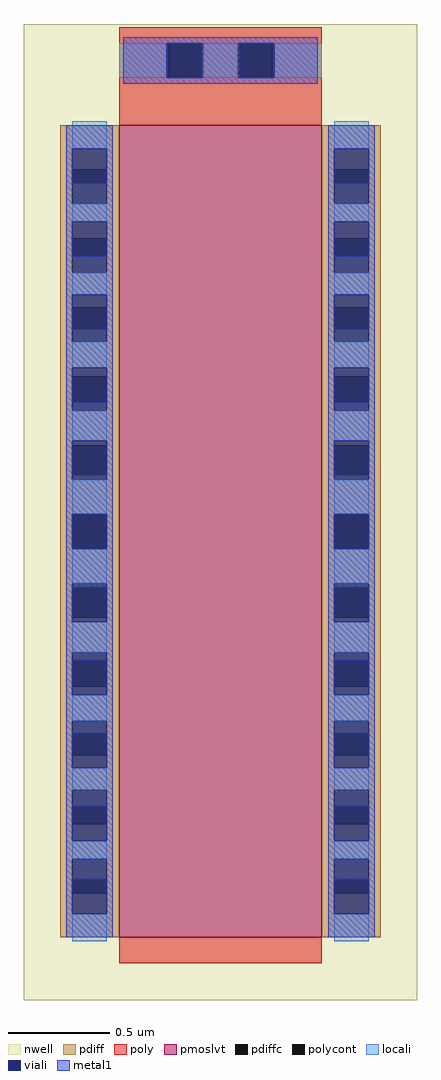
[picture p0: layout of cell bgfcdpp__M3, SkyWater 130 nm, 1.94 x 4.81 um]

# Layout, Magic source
magic
tech sky130A
magscale 1 2
<< nwell >>
rect -194 -498 194 464
<< pmoslvt >>
rect -100 -436 100 364
<< pdiff >>
rect -158 321 -100 364
rect -158 287 -146 321
rect -112 287 -100 321
rect -158 253 -100 287
rect -158 219 -146 253
rect -112 219 -100 253
rect -158 185 -100 219
rect -158 151 -146 185
rect -112 151 -100 185
rect -158 117 -100 151
rect -158 83 -146 117
rect -112 83 -100 117
rect -158 49 -100 83
rect -158 15 -146 49
rect -112 15 -100 49
rect -158 -19 -100 15
rect -158 -53 -146 -19
rect -112 -53 -100 -19
rect -158 -87 -100 -53
rect -158 -121 -146 -87
rect -112 -121 -100 -87
rect -158 -155 -100 -121
rect -158 -189 -146 -155
rect -112 -189 -100 -155
rect -158 -223 -100 -189
rect -158 -257 -146 -223
rect -112 -257 -100 -223
rect -158 -291 -100 -257
rect -158 -325 -146 -291
rect -112 -325 -100 -291
rect -158 -359 -100 -325
rect -158 -393 -146 -359
rect -112 -393 -100 -359
rect -158 -436 -100 -393
rect 100 321 158 364
rect 100 287 112 321
rect 146 287 158 321
rect 100 253 158 287
rect 100 219 112 253
rect 146 219 158 253
rect 100 185 158 219
rect 100 151 112 185
rect 146 151 158 185
rect 100 117 158 151
rect 100 83 112 117
rect 146 83 158 117
rect 100 49 158 83
rect 100 15 112 49
rect 146 15 158 49
rect 100 -19 158 15
rect 100 -53 112 -19
rect 146 -53 158 -19
rect 100 -87 158 -53
rect 100 -121 112 -87
rect 146 -121 158 -87
rect 100 -155 158 -121
rect 100 -189 112 -155
rect 146 -189 158 -155
rect 100 -223 158 -189
rect 100 -257 112 -223
rect 146 -257 158 -223
rect 100 -291 158 -257
rect 100 -325 112 -291
rect 146 -325 158 -291
rect 100 -359 158 -325
rect 100 -393 112 -359
rect 146 -393 158 -359
rect 100 -436 158 -393
<< pdiffc >>
rect -146 287 -112 321
rect -146 219 -112 253
rect -146 151 -112 185
rect -146 83 -112 117
rect -146 15 -112 49
rect -146 -53 -112 -19
rect -146 -121 -112 -87
rect -146 -189 -112 -155
rect -146 -257 -112 -223
rect -146 -325 -112 -291
rect -146 -393 -112 -359
rect 112 287 146 321
rect 112 219 146 253
rect 112 151 146 185
rect 112 83 146 117
rect 112 15 146 49
rect 112 -53 146 -19
rect 112 -121 146 -87
rect 112 -189 146 -155
rect 112 -257 146 -223
rect 112 -325 146 -291
rect 112 -393 146 -359
<< poly >>
rect -100 445 100 461
rect -100 411 -51 445
rect -17 411 17 445
rect 51 411 100 445
rect -100 364 100 411
rect -100 -462 100 -436
<< polycont >>
rect -51 411 -17 445
rect 17 411 51 445
<< locali >>
rect -100 411 -53 445
rect -17 411 17 445
rect 53 411 100 445
rect -146 341 -112 368
rect -146 269 -112 287
rect -146 197 -112 219
rect -146 125 -112 151
rect -146 53 -112 83
rect -146 -19 -112 15
rect -146 -87 -112 -53
rect -146 -155 -112 -125
rect -146 -223 -112 -197
rect -146 -291 -112 -269
rect -146 -359 -112 -341
rect -146 -440 -112 -413
rect 112 341 146 368
rect 112 269 146 287
rect 112 197 146 219
rect 112 125 146 151
rect 112 53 146 83
rect 112 -19 146 15
rect 112 -87 146 -53
rect 112 -155 146 -125
rect 112 -223 146 -197
rect 112 -291 146 -269
rect 112 -359 146 -341
rect 112 -440 146 -413
<< viali >>
rect -53 411 -51 445
rect -51 411 -19 445
rect 19 411 51 445
rect 51 411 53 445
rect -146 321 -112 341
rect -146 307 -112 321
rect -146 253 -112 269
rect -146 235 -112 253
rect -146 185 -112 197
rect -146 163 -112 185
rect -146 117 -112 125
rect -146 91 -112 117
rect -146 49 -112 53
rect -146 19 -112 49
rect -146 -53 -112 -19
rect -146 -121 -112 -91
rect -146 -125 -112 -121
rect -146 -189 -112 -163
rect -146 -197 -112 -189
rect -146 -257 -112 -235
rect -146 -269 -112 -257
rect -146 -325 -112 -307
rect -146 -341 -112 -325
rect -146 -393 -112 -379
rect -146 -413 -112 -393
rect 112 321 146 341
rect 112 307 146 321
rect 112 253 146 269
rect 112 235 146 253
rect 112 185 146 197
rect 112 163 146 185
rect 112 117 146 125
rect 112 91 146 117
rect 112 49 146 53
rect 112 19 146 49
rect 112 -53 146 -19
rect 112 -121 146 -91
rect 112 -125 146 -121
rect 112 -189 146 -163
rect 112 -197 146 -189
rect 112 -257 146 -235
rect 112 -269 146 -257
rect 112 -325 146 -307
rect 112 -341 146 -325
rect 112 -393 146 -379
rect 112 -413 146 -393
<< metal1 >>
rect -96 445 96 451
rect -96 411 -53 445
rect -19 411 19 445
rect 53 411 96 445
rect -96 405 96 411
rect -152 341 -106 364
rect -152 307 -146 341
rect -112 307 -106 341
rect -152 269 -106 307
rect -152 235 -146 269
rect -112 235 -106 269
rect -152 197 -106 235
rect -152 163 -146 197
rect -112 163 -106 197
rect -152 125 -106 163
rect -152 91 -146 125
rect -112 91 -106 125
rect -152 53 -106 91
rect -152 19 -146 53
rect -112 19 -106 53
rect -152 -19 -106 19
rect -152 -53 -146 -19
rect -112 -53 -106 -19
rect -152 -91 -106 -53
rect -152 -125 -146 -91
rect -112 -125 -106 -91
rect -152 -163 -106 -125
rect -152 -197 -146 -163
rect -112 -197 -106 -163
rect -152 -235 -106 -197
rect -152 -269 -146 -235
rect -112 -269 -106 -235
rect -152 -307 -106 -269
rect -152 -341 -146 -307
rect -112 -341 -106 -307
rect -152 -379 -106 -341
rect -152 -413 -146 -379
rect -112 -413 -106 -379
rect -152 -436 -106 -413
rect 106 341 152 364
rect 106 307 112 341
rect 146 307 152 341
rect 106 269 152 307
rect 106 235 112 269
rect 146 235 152 269
rect 106 197 152 235
rect 106 163 112 197
rect 146 163 152 197
rect 106 125 152 163
rect 106 91 112 125
rect 146 91 152 125
rect 106 53 152 91
rect 106 19 112 53
rect 146 19 152 53
rect 106 -19 152 19
rect 106 -53 112 -19
rect 146 -53 152 -19
rect 106 -91 152 -53
rect 106 -125 112 -91
rect 146 -125 152 -91
rect 106 -163 152 -125
rect 106 -197 112 -163
rect 146 -197 152 -163
rect 106 -235 152 -197
rect 106 -269 112 -235
rect 146 -269 152 -235
rect 106 -307 152 -269
rect 106 -341 112 -307
rect 146 -341 152 -307
rect 106 -379 152 -341
rect 106 -413 112 -379
rect 146 -413 152 -379
rect 106 -436 152 -413
<< end >>
